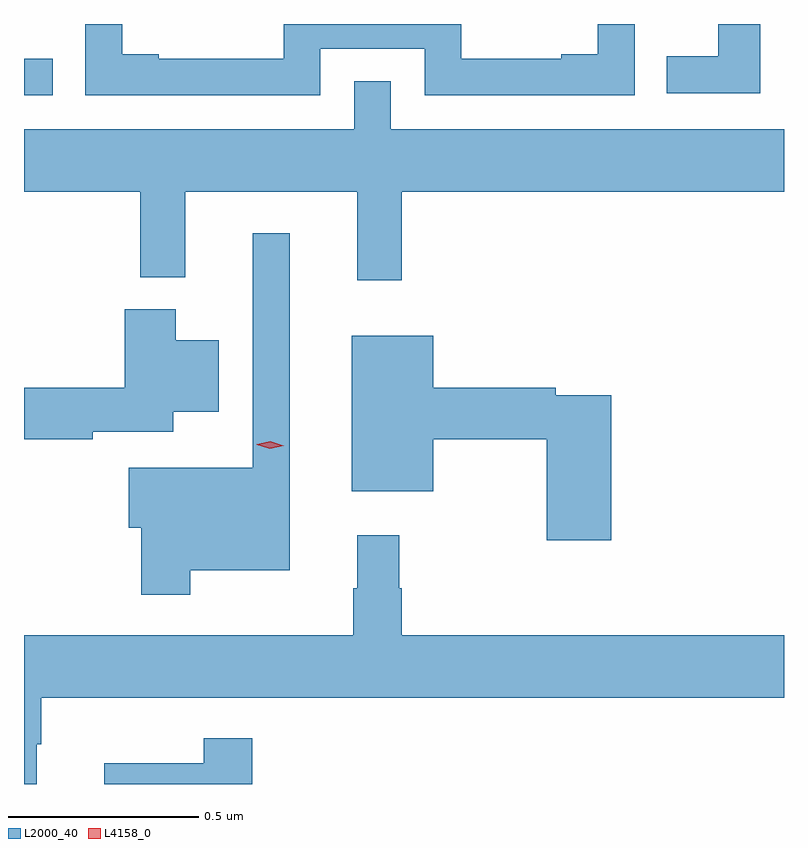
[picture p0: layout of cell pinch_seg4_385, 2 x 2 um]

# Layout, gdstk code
import gdstk
lib = gdstk.Library(unit=1e-6, precision=1e-09)
def R(c, l, rs):  # rectangles x0, y0, x1, y1
    for r in rs: c.add(gdstk.rectangle(r[:2], r[2:], *l))
def P(c, l, *ps):  # polygons
    for p in ps: c.add(gdstk.Polygon(p, *l))
L2000_40 = (2000, 40)
L4158_0 = (4158, 0)

pinch_seg4_385 = lib.new_cell('pinch_seg4_385')
R(pinch_seg4_385, L2000_40, [(1001.797,782.421,1001.873,782.517)])
P(pinch_seg4_385, L2000_40, [(1002.576,782.544),(1002.852,782.544),(1002.852,782.421),(1003.404,782.421),(1003.404,782.609),(1003.307,782.609),(1003.307,782.53),(1003.211,782.53),(1003.211,782.517),(1002.948,782.517),(1002.948,782.609),(1002.48,782.609),(1002.48,782.517),(1002.151,782.517),(1002.151,782.53),(1002.056,782.53),(1002.056,782.609),(1001.958,782.609),(1001.958,782.421),(1002.576,782.421)],
  [(1003.735,782.609),(1003.624,782.609),(1003.624,782.524),(1003.489,782.524),(1003.489,782.427),(1003.735,782.427)],
  [(1002.791,782.168),(1003.797,782.168),(1003.797,782.332),(1002.762,782.332),(1002.762,782.459),(1002.666,782.459),(1002.666,782.332),(1001.797,782.332),(1001.797,782.168),(1002.103,782.168),(1002.103,781.943),(1002.221,781.943),(1002.221,782.168),(1002.674,782.168),(1002.674,781.935),(1002.791,781.935)],
  [(1002.235,781.172),(1002.496,781.172),(1002.496,782.059),(1002.399,782.059),(1002.399,781.441),(1002.072,781.441),(1002.072,781.283),(1002.106,781.283),(1002.106,781.107),(1002.235,781.107)],
  [(1001.978,781.536),(1002.19,781.536),(1002.19,781.589),(1002.31,781.589),(1002.31,781.777),(1002.196,781.777),(1002.196,781.858),(1002.062,781.858),(1002.062,781.652),(1001.797,781.652),(1001.797,781.516),(1001.978,781.516)],
  [(1003.343,781.632),(1003.196,781.632),(1003.196,781.652),(1002.874,781.652),(1002.874,781.789),(1002.659,781.789),(1002.659,781.379),(1002.874,781.379),(1002.874,781.516),(1003.172,781.516),(1003.172,781.251),(1003.343,781.251)],
  [(1001.83,780.713),(1001.842,780.713),(1001.842,780.836),(1003.797,780.836),(1003.797,781),(1002.791,781),(1002.791,781.124),(1002.784,781.124),(1002.784,781.264),(1002.674,781.264),(1002.674,781.124),(1002.663,781.124),(1002.663,781),(1001.797,781),(1001.797,780.609),(1001.83,780.609)],
  [(1002.398,780.73),(1002.27,780.73),(1002.27,780.664),(1002.008,780.664),(1002.008,780.609),(1002.398,780.609)])
P(pinch_seg4_385, L4158_0, [(1002.444,781.491),(1002.409,781.502),(1002.409,781.502),(1002.409,781.503),(1002.445,781.511),(1002.48,781.499),(1002.48,781.499),(1002.48,781.499)])

lib.write_gds('pinch_seg4_385.gds')
